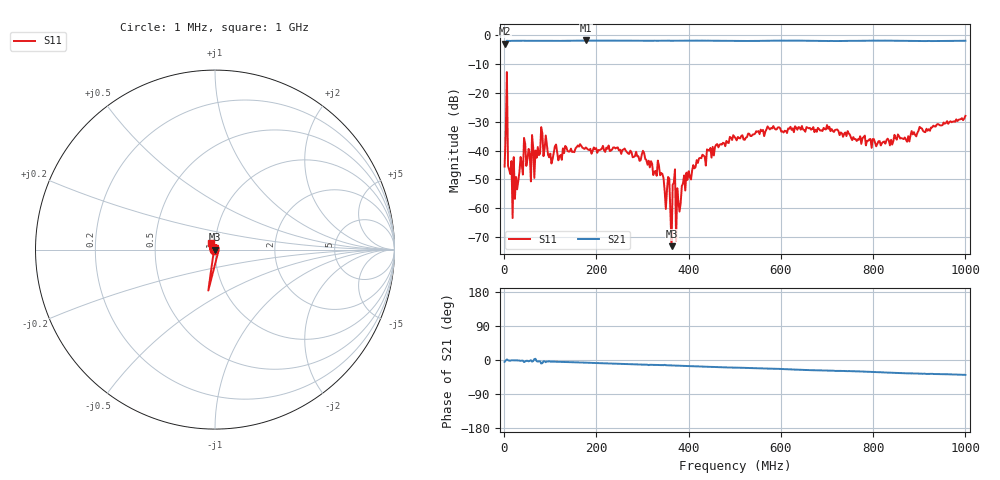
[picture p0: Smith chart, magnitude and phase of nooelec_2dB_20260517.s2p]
# HZ S RI R 50
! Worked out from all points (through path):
!   404 points, 1 MHz to 1 GHz, reference 50 ohm
!   highest |S21| = -1.76 dB at 177 MHz (marker M1); lowest = -2.9 dB at 1 MHz (marker M2)
!   group delay of S21, straight-line fit = 109 ps
!   lowest |S11| = -73.2 dB at 362.9 MHz (marker M3), VSWR 1.00, Z = 50 + j0.0141 ohm
!   |S11| at or under -10 dB: start of sweep to end of sweep
!   S12 and S22 are empty: the file has one direction only
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1000000  -0.00516 -0.00104  0.7154 -0.0625  0 0  0 0
8436724  -0.00526 0.00121  0.8024 -0.00828  0 0  0 0
1.091563e7  -0.00437 -0.00151  0.8012 -0.022  0 0  0 0
1.339454e7  -0.00363 -0.00143  0.8019 -0.0231  0 0  0 0
2.331017e7  -0.00101 0.00103  0.8056 -0.0131  0 0  0 0
4.066253e7  -0.00347 0.00161  0.8079 -0.023  0 0  0 0
7.040942e7  -0.00736 -0.00143  0.8056 -0.0422  0 0  0 0
8.528287e7  -0.00787 -0.00142  0.8037 -0.0495  0 0  0 0
1.001563e8  -0.00686 0.00559  0.8032 -0.0598  0 0  0 0
1.695657e8  -0.011 0.00217  0.8056 -0.095  0 0  0 0
1.770025e8  -0.0113 0.00056  0.811 -0.0985  0 0  0 0
3.034268e8  -0.00201 0.00885  0.7899 -0.1704  0 0  0 0
3.356526e8  0.000598 0.0054  0.7859 -0.1849  0 0  0 0
3.629206e8  -0.000166 0.000141  0.7817 -0.2001  0 0  0 0
3.703573e8  0.00373 -0.00286  0.7814 -0.2044  0 0  0 0
3.77794e8  -0.00129 -0.000154  0.7817 -0.2092  0 0  0 0
3.901886e8  0.000142 -0.00368  0.7795 -0.2157  0 0  0 0
4.224144e8  -0.00267 -0.00677  0.7744 -0.2359  0 0  0 0
5.017394e8  -0.0163 -0.00125  0.7535 -0.2764  0 0  0 0
6.678263e8  0.00525 0.023  0.718 -0.3646  0 0  0 0
8.339131e8  -0.00246 -0.0148  0.6778 -0.4445  0 0  0 0
9.999999e8  -0.0204 0.0345  0.6234 -0.5122  0 0  0 0
